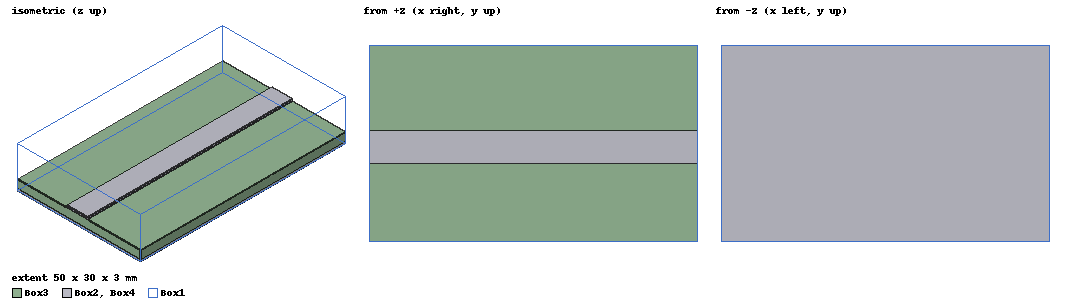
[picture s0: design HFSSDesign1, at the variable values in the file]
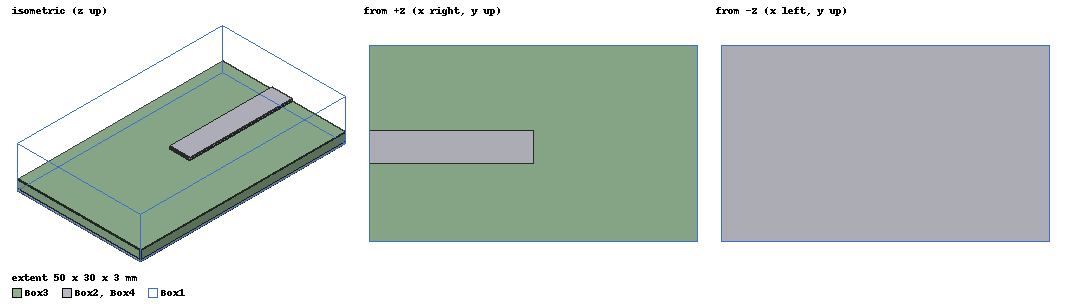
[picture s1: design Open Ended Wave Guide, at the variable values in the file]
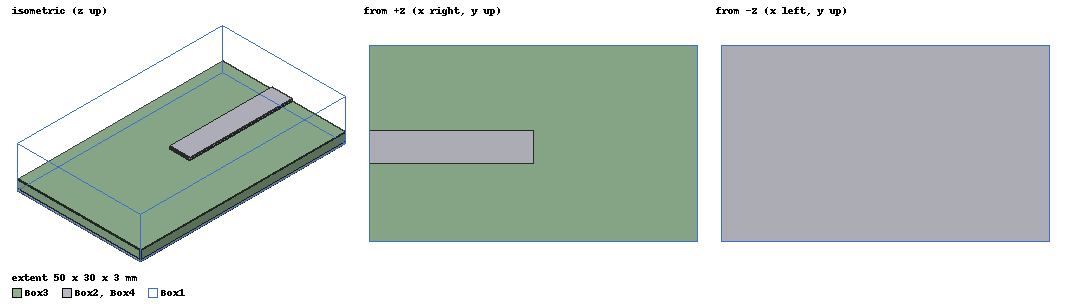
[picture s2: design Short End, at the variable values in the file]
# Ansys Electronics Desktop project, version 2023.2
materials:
  vacuum: permittivity=1
  pec: conductivity=1e+30
  Teflon (tm): permittivity=2.1 dielectric_loss_tangent=0.001

design HFSSDesign1 (HFSS, HFSS Modal Network, model units mm)
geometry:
  Box1 [vacuum] = box(corner=(0mm, 0mm, 0mm), size=(50mm, 30mm, 10mm))
  Box2 [pec] = box(corner=(0mm, 0mm, 0mm), size=(50mm, 30mm, 0.5mm))
  Box3 [Teflon (tm)] = box(corner=(0mm, 0mm, 0.5mm), size=(50mm, 30mm, 2mm))
  Box4 [pec] = box(corner=(0mm, 12mm, 2.5mm), size=(50mm, 5mm, 0.5mm))
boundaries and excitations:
  PerfH1: Perfect H Faces=Box1.face(+y)
  PerfH2: Perfect H Faces=Box1.face(-y)
  1: Wave Port Faces=Box1.face(-x) WavePortType=Modal NumModes=1 Modes{Mode1{CharImp=Zpi}}
  2: Wave Port Faces=Box1.face(+x) WavePortType=Modal NumModes=1 Modes{Mode1{CharImp=Zpi}}
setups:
  Setup1: HfssDriven Frequency=12GHz MaxDeltaS=0.0001 MaximumPasses=9 MinimumPasses=6 MinimumConvergedPasses=1 PercentRefinement=30 BasisOrder=1 PortAccuracy=2 DrivenSolverType="Direct Solver"
    sweep Sweep: 1GHz to 12GHz, 401 points; Type=Interpolating InterpTolerance=0.5 InterpMaxSolns=250 InterpUsePortImped=false PassivityErrorTolerance=0.0001
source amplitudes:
  1:1: 1W 0deg
  2:1: 0W 0deg
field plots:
  Vector_E1: E Field over Box4.face(all 6) on Setup1 : LastAdaptive at Freq=12GHz Phase=0deg
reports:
  S Parameter Plot 1: dB(S(1,1)) vs Freq on Setup1 : Sweep
  S Parameter Plot 2: dB(S(2,1)) vs Freq on Setup1 : Sweep
  S Parameter Plot 3: dB(S(1,2)) vs Freq on Setup1 : Sweep
  S Parameter Plot 4: dB(S(2,2)) vs Freq on Setup1 : Sweep

design Open Ended Wave Guide (HFSS, HFSS Modal Network, model units mm)
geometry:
  Box1 [vacuum] = box(corner=(0mm, 0mm, 0mm), size=(50mm, 30mm, 10mm))
  Box2 [pec] = box(corner=(0mm, 0mm, 0mm), size=(50mm, 30mm, 0.5mm))
  Box3 [Teflon (tm)] = box(corner=(0mm, 0mm, 0.5mm), size=(50mm, 30mm, 2mm))
  Box4 [pec] = box(corner=(0mm, 12mm, 2.5mm), size=(25mm, 5mm, 0.5mm))
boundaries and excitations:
  PerfH1: Perfect H Faces=Box1.face(+y)
  PerfH2: Perfect H Faces=Box1.face(-y)
  PerfH3: Perfect H Faces=Box1.face(+x)
  1: Wave Port Faces=Box1.face(-x) WavePortType=Modal NumModes=1 Modes{Mode1{CharImp=Zpi}}
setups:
  Setup1: HfssDriven Frequency=12GHz MaxDeltaS=0.02 MaximumPasses=6 MinimumPasses=6 MinimumConvergedPasses=1 PercentRefinement=30 BasisOrder=1 PortAccuracy=2 DrivenSolverType="Direct Solver"
    sweep Sweep: 1GHz to 12GHz, 401 points; Type=Interpolating InterpTolerance=0.5 InterpMaxSolns=250 InterpUsePortImped=false PassivityErrorTolerance=0.0001
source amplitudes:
  1:1: 1W 0deg
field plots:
  Mag_H1: H Field over Box2.face(all 6) on Setup1 : LastAdaptive at Freq=12GHz Phase=90deg
  Mag_H2: H Field over Box4.face(all 6) on Setup1 : LastAdaptive at Freq=12GHz Phase=90deg
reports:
  S Parameter Plot 1: dB(S(1,1)) vs Freq, Freq on Setup1 : Sweep

design Short End (HFSS, HFSS Modal Network, model units mm)
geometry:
  Box1 [vacuum] = box(corner=(0mm, 0mm, 0mm), size=(50mm, 30mm, 10mm))
  Box2 [pec] = box(corner=(0mm, 0mm, 0mm), size=(50mm, 30mm, 0.5mm))
  Box3 [Teflon (tm)] = box(corner=(0mm, 0mm, 0.5mm), size=(50mm, 30mm, 2mm))
  Box4 [pec] = box(corner=(0mm, 12mm, 2.5mm), size=(25mm, 5mm, 0.5mm))
  Cylinder1 [pec] = cylinder(axis=Z, base_centre=(22mm, 14mm, 0.5mm), radius=2mm, height=2mm)
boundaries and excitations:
  PerfH1: Perfect H Faces=Box1.face(+y)
  PerfH2: Perfect H Faces=Box1.face(-y)
  PerfH3: Perfect H Faces=Box1.face(+x)
  1: Wave Port Faces=Box1.face(-x) WavePortType=Modal NumModes=1 Modes{Mode1{CharImp=Zpi}}
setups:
  Setup1: HfssDriven Frequency=12GHz MaxDeltaS=0.02 MaximumPasses=6 MinimumPasses=6 MinimumConvergedPasses=1 PercentRefinement=30 BasisOrder=1 PortAccuracy=2 DrivenSolverType="Direct Solver"
    sweep Sweep: 1GHz to 12GHz, 401 points; Type=Interpolating InterpTolerance=0.5 InterpMaxSolns=250 InterpUsePortImped=false PassivityErrorTolerance=0.0001
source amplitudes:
  1:1: 1W 0deg
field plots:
  Mag_H1: H Field over Box2.face(all 6) on Setup1 : LastAdaptive at Freq=12GHz Phase=127deg
  Mag_H2: H Field over Box4.face(all 6) on Setup1 : LastAdaptive at Freq=12GHz Phase=127deg
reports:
  S Parameter Plot 1: dB(S(1,1)) vs Freq, Freq on Setup1 : Sweep
